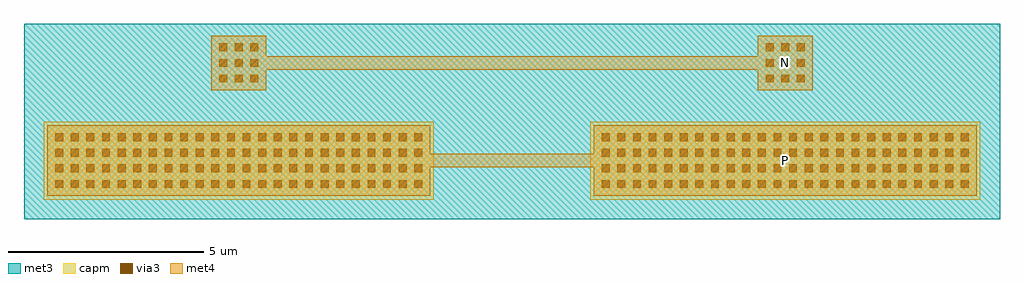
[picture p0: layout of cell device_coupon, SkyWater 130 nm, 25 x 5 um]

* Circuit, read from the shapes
.subckt device_coupon N P
XC1 P N sky130_fd_pr__cap_mim_m3_1 w=10 l=2 m=2
.ends

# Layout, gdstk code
import gdstk
lib = gdstk.Library(unit=1e-6, precision=1e-09)
def R(c, l, rs):  # rectangles x0, y0, x1, y1
    for r in rs: c.add(gdstk.rectangle(r[:2], r[2:], *l))
def A(c, l, x, y, w, h, nx, ny, dx, dy):  # array of equal rectangles
    R(c, l, [(x+i*dx, y+j*dy, x+i*dx+w, y+j*dy+h) for i in range(nx) for j in range(ny)])
met3 = (70, 20)
via3 = (70, 44)
met4 = (71, 20)
capm = (89, 44)

device_coupon = lib.new_cell('device_coupon')
R(device_coupon, met3, [(-24.5,-0.5,-13.5,4.5), (-13.5,-0.5,-10.5,4.5), (-10.5,-0.5,0.5,4.5)])
A(device_coupon, via3, -23.7, 0.3, 0.2, 0.2, 24, 4, 0.4, 0.4)
A(device_coupon, via3, -9.7, 0.3, 0.2, 0.2, 24, 4, 0.4, 0.4)
A(device_coupon, via3, -19.5, 3, 0.2, 0.2, 3, 3, 0.4, 0.4)
A(device_coupon, via3, -5.5, 3, 0.2, 0.2, 3, 3, 0.4, 0.4)
R(device_coupon, met4, [(-23.9,0.1,-14.1,1.9), (-9.9,0.1,-0.1,1.9), (-19,0.83,-5,1.17), (-19.7,2.8,-18.3,4.2), (-5.7,2.8,-4.3,4.2), (-19,3.33,-5,3.67)])
R(device_coupon, capm, [(-24,0,-14,2), (-10,0,0,2)])
device_coupon.add(gdstk.Label('P', (-5,1), layer=71, texttype=5))
device_coupon.add(gdstk.Label('N', (-5,3.5), layer=71, texttype=5))

lib.write_gds('device_coupon.gds')
